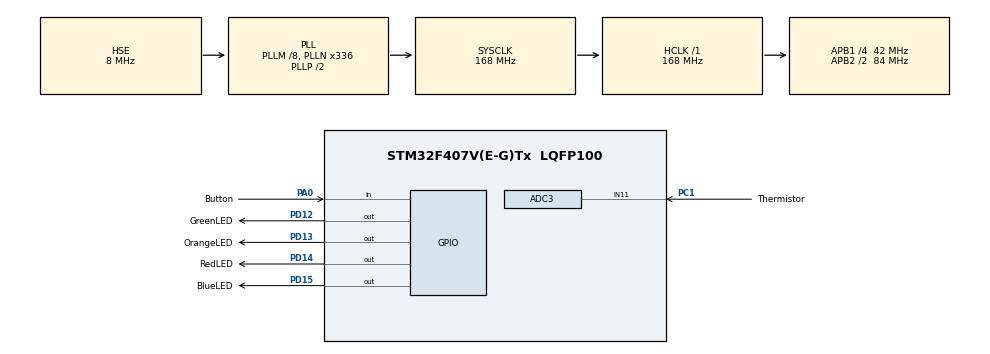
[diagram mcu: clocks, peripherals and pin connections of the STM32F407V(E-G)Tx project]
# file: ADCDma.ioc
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ADC1.Channel-2\#ChannelRegularConversion=ADC_CHANNEL_TEMPSENSOR
ADC1.ContinuousConvMode=ENABLE
ADC1.DMAContinuousRequests=ENABLE
ADC1.NbrOfConversionFlag=1
ADC1.Rank-2\#ChannelRegularConversion=1
ADC1.SamplingTime-2\#ChannelRegularConversion=ADC_SAMPLETIME_84CYCLES
ADC1.master=1
ADC3.Channel-0\#ChannelRegularConversion=ADC_CHANNEL_11
ADC3.ContinuousConvMode=ENABLE
ADC3.DMAContinuousRequests=ENABLE
ADC3.NbrOfConversionFlag=1
ADC3.Rank-0\#ChannelRegularConversion=1
ADC3.SamplingTime-0\#ChannelRegularConversion=ADC_SAMPLETIME_84CYCLES
Dma.ADC1.0.Direction=DMA_PERIPH_TO_MEMORY
Dma.ADC1.0.FIFOMode=DMA_FIFOMODE_DISABLE
Dma.ADC1.0.Instance=DMA2_Stream4
Dma.ADC1.0.MemDataAlignment=DMA_MDATAALIGN_WORD
Dma.ADC1.0.MemInc=DMA_MINC_ENABLE
Dma.ADC1.0.Mode=DMA_CIRCULAR
Dma.ADC1.0.PeriphDataAlignment=DMA_PDATAALIGN_WORD
Dma.ADC1.0.PeriphInc=DMA_PINC_DISABLE
Dma.ADC1.0.Priority=DMA_PRIORITY_LOW
Dma.ADC3.1.Direction=DMA_PERIPH_TO_MEMORY
Dma.ADC3.1.FIFOMode=DMA_FIFOMODE_DISABLE
Dma.ADC3.1.Instance=DMA2_Stream0
Dma.ADC3.1.MemDataAlignment=DMA_MDATAALIGN_WORD
Dma.ADC3.1.MemInc=DMA_MINC_ENABLE
Dma.ADC3.1.Mode=DMA_CIRCULAR
Dma.ADC3.1.PeriphDataAlignment=DMA_PDATAALIGN_WORD
Dma.ADC3.1.PeriphInc=DMA_PINC_DISABLE
Dma.ADC3.1.Priority=DMA_PRIORITY_LOW
Dma.Request0=ADC1
Dma.Request1=ADC3
Mcu.Family=STM32F4
Mcu.Name=STM32F407V(E-G)Tx
Mcu.Package=LQFP100
NVIC.DMA2_Stream0_IRQn=true\:0\:0\:false\:false\:true\:false\:true
NVIC.DMA2_Stream4_IRQn=true\:0\:0\:false\:false\:true\:false\:true
NVIC.PriorityGroup=NVIC_PRIORITYGROUP_4
PA0-WKUP.GPIO_Label=Button
PA0-WKUP.Signal=GPIO_Input
PA13.Mode=Trace_Asynchronous_SW
PA13.Signal=SYS_JTMS-SWDIO
PA14.Mode=Trace_Asynchronous_SW
PA14.Signal=SYS_JTCK-SWCLK
PB3.Mode=Trace_Asynchronous_SW
PB3.Signal=SYS_JTDO-SWO
PC1.GPIO_Label=Thermistor
PC1.Signal=ADCx_IN11
PD12.GPIO_Label=GreenLED
PD12.Signal=GPIO_Output
PD13.GPIO_Label=OrangeLED
PD13.Signal=GPIO_Output
PD14.GPIO_Label=RedLED
PD14.Signal=GPIO_Output
PD15.GPIO_Label=BlueLED
PD15.Signal=GPIO_Output
PH0-OSC_IN.Mode=HSE-External-Oscillator
PH0-OSC_IN.Signal=RCC_OSC_IN
PH1-OSC_OUT.Mode=HSE-External-Oscillator
PH1-OSC_OUT.Signal=RCC_OSC_OUT
ProjectManager.HeapSize=0x200
ProjectManager.StackSize=0x400
ProjectManager.TargetToolchain=STM32CubeIDE
RCC.48MHZClocksFreq_Value=48000000
RCC.AHBFreq_Value=168000000
RCC.APB1CLKDivider=RCC_HCLK_DIV4
RCC.APB1Freq_Value=42000000
RCC.APB1TimFreq_Value=84000000
RCC.APB2CLKDivider=RCC_HCLK_DIV2
RCC.APB2Freq_Value=84000000
RCC.APB2TimFreq_Value=168000000
RCC.CortexFreq_Value=168000000
RCC.HCLKFreq_Value=168000000
RCC.HSE_VALUE=8000000
RCC.HSI_VALUE=16000000
RCC.LSE_VALUE=32768
RCC.PLLM=8
RCC.PLLN=336
RCC.PLLQ=7
RCC.PLLSourceVirtual=RCC_PLLSOURCE_HSE
RCC.SYSCLKFreq_VALUE=168000000
RCC.SYSCLKSource=RCC_SYSCLKSOURCE_PLLCLK
RCC.VCOOutputFreq_Value=336000000
SH.ADCx_IN11.0=ADC3_IN11,IN11
VP_ADC1_TempSens_Input.Mode=IN-TempSens
VP_RNG_VS_RNG.Mode=RNG_Activate
board=custom

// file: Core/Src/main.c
/* USER CODE BEGIN Header */
/**
 * NAME: Wakana Tomita
 * DATE: 2020.11.01
 * DESCRIPTION: If you run this program, ADC1 will read the internal die temperature sensor using DMA.
 * While reading, the orange LED will blink at a ½ second rate.
  ******************************************************************************
  * @file           : main.c
  * @brief          : Main program body
  ******************************************************************************
  * @attention
  *
  * <h2><center>&copy; Copyright (c) 2020 STMicroelectronics.
  * All rights reserved.</center></h2>
  *
  * This software component is licensed by ST under BSD 3-Clause license,
  * the "License"; You may not use this file except in compliance with the
  * License. You may obtain a copy of the License at:
  *                        opensource.org/licenses/BSD-3-Clause
  *
  ******************************************************************************
  */
/* USER CODE END Header */
#include "main.h"

/* USER CODE BEGIN Includes */
#include <stdio.h>  //printf function
#include <math.h>
/* USER CODE END Includes */

ADC_HandleTypeDef hadc1;
ADC_HandleTypeDef hadc3;
DMA_HandleTypeDef hdma_adc1;
DMA_HandleTypeDef hdma_adc3;

RNG_HandleTypeDef hrng;

/* USER CODE BEGIN PV */
uint32_t thermValue;
uint32_t dieValue;
uint32_t thermArray[100];
uint32_t dieArray[100];
float ExC;
float InC;
/* USER CODE END PV */

void SystemClock_Config(void);
static void MX_GPIO_Init(void);
static void MX_DMA_Init(void);
static void MX_RNG_Init(void);
static void MX_ADC1_Init(void);
static void MX_ADC3_Init(void);

/* USER CODE BEGIN 0 */
int _write(int file, char *ptr, int len)
{
  /* Implement your write code here, this is used by puts and printf for example */
  int i=0;
  for(i=0 ; i<len ; i++)
  {
    ITM_SendChar((*ptr++));
  }
  return len;
}
/* USER CODE END 0 */

int main(void)
{

  /* MCU Configuration--------------------------------------------------------*/

  /* Reset of all peripherals, Initializes the Flash interface and the Systick. */
  HAL_Init();

  /* Configure the system clock */
  SystemClock_Config();

  /* Initialize all configured peripherals */
  MX_GPIO_Init();
  MX_DMA_Init();
  MX_RNG_Init();
  MX_ADC1_Init();
  MX_ADC3_Init();

  /* USER CODE BEGIN 2 */
  HAL_ADC_Start_DMA(&hadc3, thermArray, 100);
  HAL_ADC_Start_DMA(&hadc1, dieArray, 100);
  /* USER CODE END 2 */

  /* Infinite loop */
  /* USER CODE BEGIN WHILE */

  static unsigned short pin_state = 0;

  while (1)
  {
	  //Thermistor value
	  	  thermValue = 0;

	  	  for(int i = 0; i < 100; i++)  //100 samples
	  	  {
	  		  thermValue += thermArray[i];  //thermValue = themValue + thermArray[i]
	  		  thermValue /= 100;  //thermValue = thermValue / 100 (avaraging thermValue)
	  	  }

	  	  //printf("Thermistor value: %lu\n", thermValue);
	  	  HAL_Delay(500);

	  //External temperature
	  	  ExC = (1 / ((log(((10000.0 * thermValue) / (4095.0 - thermValue)) / 100000.0) / 3950.0) + (1 / (273.15 + 25.000)))) - 273.15;

	  	  printf("External temperature: %0.1f\n", ExC);
	  	  HAL_Delay(500);

	  // Die value
	  	  dieValue = 0;

	  	  for(int i = 0; i < 100; i++)  //100 samples
	      {
	  		  dieValue += dieArray[i];  //dieValue = dieValue + dieArray[i]
	  		  dieValue /= 100;  //dieValue = dieValue / 100 (avaraging dieValue)
	      }

	      //printf("Die value: %lu\n", dieValue);
	      HAL_Delay(500);

	  //Internal temperature
	  	  InC = (((dieValue / 4095.0 * 3.0) - 0.76) / 0.0025) + 25;

	  	  printf("Internal temperature: %0.1f\n", InC);
	  	  HAL_Delay(500);

    /* USER CODE END WHILE */

    /* USER CODE BEGIN 3 */
	  	  pin_state = !pin_state;

	  	  HAL_GPIO_WritePin(OrangeLED_GPIO_Port, OrangeLED_Pin, pin_state);  //pin state
	  	  HAL_Delay(500);  //synchronous delay for 500ms
  }
  /* USER CODE END 3 */
}

void SystemClock_Config(void)
{
  RCC_OscInitTypeDef RCC_OscInitStruct = {0};
  RCC_ClkInitTypeDef RCC_ClkInitStruct = {0};

  /** Configure the main internal regulator output voltage
  */
  __HAL_RCC_PWR_CLK_ENABLE();
  __HAL_PWR_VOLTAGESCALING_CONFIG(PWR_REGULATOR_VOLTAGE_SCALE1);
  /** Initializes the RCC Oscillators according to the specified parameters
  * in the RCC_OscInitTypeDef structure.
  */
  RCC_OscInitStruct.OscillatorType = RCC_OSCILLATORTYPE_HSE;
  RCC_OscInitStruct.HSEState = RCC_HSE_ON;
  RCC_OscInitStruct.PLL.PLLState = RCC_PLL_ON;
  RCC_OscInitStruct.PLL.PLLSource = RCC_PLLSOURCE_HSE;
  RCC_OscInitStruct.PLL.PLLM = 8;
  RCC_OscInitStruct.PLL.PLLN = 336;
  RCC_OscInitStruct.PLL.PLLP = RCC_PLLP_DIV2;
  RCC_OscInitStruct.PLL.PLLQ = 7;
  if (HAL_RCC_OscConfig(&RCC_OscInitStruct) != HAL_OK)
  {
    Error_Handler();
  }
  /** Initializes the CPU, AHB and APB buses clocks
  */
  RCC_ClkInitStruct.ClockType = RCC_CLOCKTYPE_HCLK|RCC_CLOCKTYPE_SYSCLK
                              |RCC_CLOCKTYPE_PCLK1|RCC_CLOCKTYPE_PCLK2;
  RCC_ClkInitStruct.SYSCLKSource = RCC_SYSCLKSOURCE_PLLCLK;
  RCC_ClkInitStruct.AHBCLKDivider = RCC_SYSCLK_DIV1;
  RCC_ClkInitStruct.APB1CLKDivider = RCC_HCLK_DIV4;
  RCC_ClkInitStruct.APB2CLKDivider = RCC_HCLK_DIV2;

  if (HAL_RCC_ClockConfig(&RCC_ClkInitStruct, FLASH_LATENCY_5) != HAL_OK)
  {
    Error_Handler();
  }
}

static void MX_ADC1_Init(void)
{

  ADC_ChannelConfTypeDef sConfig = {0};

  /** Configure the global features of the ADC (Clock, Resolution, Data Alignment and number of conversion)
  */
  hadc1.Instance = ADC1;
  hadc1.Init.ClockPrescaler = ADC_CLOCK_SYNC_PCLK_DIV4;
  hadc1.Init.Resolution = ADC_RESOLUTION_12B;
  hadc1.Init.ScanConvMode = DISABLE;
  hadc1.Init.ContinuousConvMode = ENABLE;
  hadc1.Init.DiscontinuousConvMode = DISABLE;
  hadc1.Init.ExternalTrigConvEdge = ADC_EXTERNALTRIGCONVEDGE_NONE;
  hadc1.Init.ExternalTrigConv = ADC_SOFTWARE_START;
  hadc1.Init.DataAlign = ADC_DATAALIGN_RIGHT;
  hadc1.Init.NbrOfConversion = 1;
  hadc1.Init.DMAContinuousRequests = ENABLE;
  hadc1.Init.EOCSelection = ADC_EOC_SINGLE_CONV;
  if (HAL_ADC_Init(&hadc1) != HAL_OK)
  {
    Error_Handler();
  }
  /** Configure for the selected ADC regular channel its corresponding rank in the sequencer and its sample time.
  */
  sConfig.Channel = ADC_CHANNEL_TEMPSENSOR;
  sConfig.Rank = 1;
  sConfig.SamplingTime = ADC_SAMPLETIME_84CYCLES;
  if (HAL_ADC_ConfigChannel(&hadc1, &sConfig) != HAL_OK)
  {
    Error_Handler();
  }

}

static void MX_ADC3_Init(void)
{

  ADC_ChannelConfTypeDef sConfig = {0};

  /** Configure the global features of the ADC (Clock, Resolution, Data Alignment and number of conversion)
  */
  hadc3.Instance = ADC3;
  hadc3.Init.ClockPrescaler = ADC_CLOCK_SYNC_PCLK_DIV4;
  hadc3.Init.Resolution = ADC_RESOLUTION_12B;
  hadc3.Init.ScanConvMode = DISABLE;
  hadc3.Init.ContinuousConvMode = ENABLE;
  hadc3.Init.DiscontinuousConvMode = DISABLE;
  hadc3.Init.ExternalTrigConvEdge = ADC_EXTERNALTRIGCONVEDGE_NONE;
  hadc3.Init.ExternalTrigConv = ADC_SOFTWARE_START;
  hadc3.Init.DataAlign = ADC_DATAALIGN_RIGHT;
  hadc3.Init.NbrOfConversion = 1;
  hadc3.Init.DMAContinuousRequests = ENABLE;
  hadc3.Init.EOCSelection = ADC_EOC_SINGLE_CONV;
  if (HAL_ADC_Init(&hadc3) != HAL_OK)
  {
    Error_Handler();
  }
  /** Configure for the selected ADC regular channel its corresponding rank in the sequencer and its sample time.
  */
  sConfig.Channel = ADC_CHANNEL_11;
  sConfig.Rank = 1;
  sConfig.SamplingTime = ADC_SAMPLETIME_84CYCLES;
  if (HAL_ADC_ConfigChannel(&hadc3, &sConfig) != HAL_OK)
  {
    Error_Handler();
  }

}

static void MX_RNG_Init(void)
{

  hrng.Instance = RNG;
  if (HAL_RNG_Init(&hrng) != HAL_OK)
  {
    Error_Handler();
  }

}

static void MX_DMA_Init(void)
{

  /* DMA controller clock enable */
  __HAL_RCC_DMA2_CLK_ENABLE();

  /* DMA interrupt init */
  /* DMA2_Stream0_IRQn interrupt configuration */
  HAL_NVIC_SetPriority(DMA2_Stream0_IRQn, 0, 0);
  HAL_NVIC_EnableIRQ(DMA2_Stream0_IRQn);
  /* DMA2_Stream4_IRQn interrupt configuration */
  HAL_NVIC_SetPriority(DMA2_Stream4_IRQn, 0, 0);
  HAL_NVIC_EnableIRQ(DMA2_Stream4_IRQn);

}

static void MX_GPIO_Init(void)
{
  GPIO_InitTypeDef GPIO_InitStruct = {0};

  /* GPIO Ports Clock Enable */
  __HAL_RCC_GPIOH_CLK_ENABLE();
  __HAL_RCC_GPIOC_CLK_ENABLE();
  __HAL_RCC_GPIOA_CLK_ENABLE();
  __HAL_RCC_GPIOD_CLK_ENABLE();
  __HAL_RCC_GPIOB_CLK_ENABLE();

  /*Configure GPIO pin Output Level */
  HAL_GPIO_WritePin(GPIOD, GreenLED_Pin|OrangeLED_Pin|RedLED_Pin|BlueLED_Pin, GPIO_PIN_RESET);

  /*Configure GPIO pin : Button_Pin */
  GPIO_InitStruct.Pin = Button_Pin;
  GPIO_InitStruct.Mode = GPIO_MODE_INPUT;
  GPIO_InitStruct.Pull = GPIO_NOPULL;
  HAL_GPIO_Init(Button_GPIO_Port, &GPIO_InitStruct);

  /*Configure GPIO pins : GreenLED_Pin OrangeLED_Pin RedLED_Pin BlueLED_Pin */
  GPIO_InitStruct.Pin = GreenLED_Pin|OrangeLED_Pin|RedLED_Pin|BlueLED_Pin;
  GPIO_InitStruct.Mode = GPIO_MODE_OUTPUT_PP;
  GPIO_InitStruct.Pull = GPIO_NOPULL;
  GPIO_InitStruct.Speed = GPIO_SPEED_FREQ_LOW;
  HAL_GPIO_Init(GPIOD, &GPIO_InitStruct);

}

/* USER CODE BEGIN 4 */
__weak void HAL_ADC_ConvCpltCallback(ADC_HandleTypeDef* hadc)
{
	dieValue = HAL_ADC_GetValue(&hadc1);
	thermValue = HAL_ADC_GetValue(&hadc3);
}

//printf
int __io_putchar(int ch)
{
	ITM_SendChar(ch);
	return 0;
}
/* USER CODE END 4 */

void Error_Handler(void)
{
}

/************************ (C) COPYRIGHT STMicroelectronics *****END OF FILE****/
